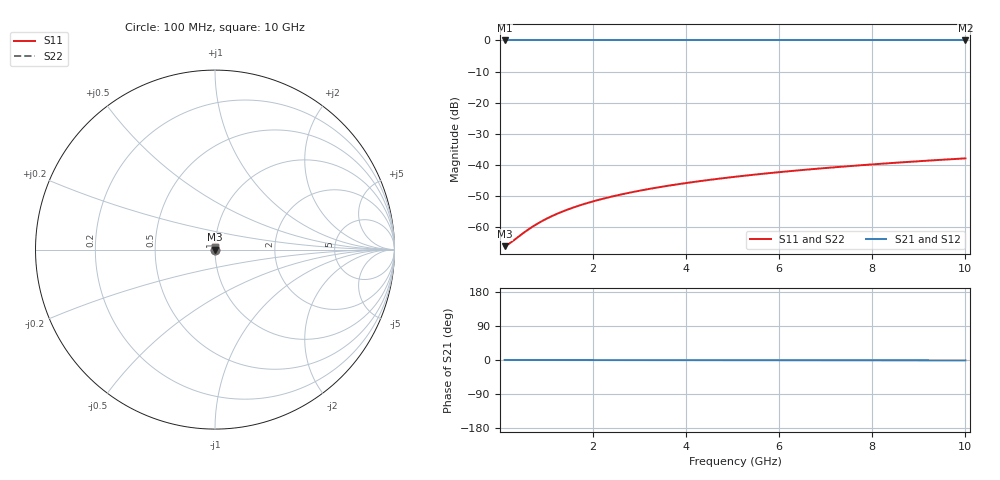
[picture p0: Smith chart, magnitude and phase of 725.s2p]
# Hz S RI R 50.00
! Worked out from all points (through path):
!   100 points, 100 MHz to 10 GHz, reference 50 ohm
!   highest |S21| = 0.00 dB at 100 MHz (marker M1); lowest = 0.0 dB at 10 GHz (marker M2)
!   lowest |S11| = -66.2 dB at 100 MHz (marker M3), VSWR 1.00, Z = 50 + j0.0126 ohm
!   |S11| at or under -10 dB: start of sweep to end of sweep
!   |S22| runs from -66.2 to -37.9 dB; largest |S21 - S12| = 1e-14
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1e8  0.000474 0.000126  0.9995 -0.000182  0.9995 -0.000182  0.000474 0.000126
2e8  0.000477 0.000253  0.9995 -0.000365  0.9995 -0.000365  0.000477 0.000253
6e8  0.000485 0.000758  0.9995 -0.00109  0.9995 -0.00109  0.000485 0.000758
7e8  0.000487 0.000884  0.9995 -0.00128  0.9995 -0.00128  0.000487 0.000884
9e8  0.00049 0.00114  0.9995 -0.00164  0.9995 -0.00164  0.00049 0.00114
1.1e9  0.000492 0.00139  0.9995 -0.00201  0.9995 -0.00201  0.000492 0.00139
1.3e9  0.000495 0.00164  0.9995 -0.00237  0.9995 -0.00237  0.000495 0.00164
1.5e9  0.000498 0.00189  0.9995 -0.00273  0.9995 -0.00273  0.000498 0.00189
1.8e9  0.000502 0.00227  0.9995 -0.00328  0.9995 -0.00328  0.000502 0.00227
2.1e9  0.000507 0.00265  0.9995 -0.00383  0.9995 -0.00383  0.000507 0.00265
2.5e9  0.000513 0.00316  0.9995 -0.00456  0.9995 -0.00456  0.000513 0.00316
2.9e9  0.000521 0.00366  0.9995 -0.00529  0.9995 -0.00529  0.000521 0.00366
3.4e9  0.00053 0.0043  0.9995 -0.0062  0.9995 -0.0062  0.00053 0.0043
3.8e9  0.000539 0.0048  0.9995 -0.00693  0.9995 -0.00693  0.000539 0.0048
4.2e9  0.000548 0.00531  0.9994 -0.00766  0.9994 -0.00766  0.000548 0.00531
4.6e9  0.000558 0.00581  0.9994 -0.00839  0.9994 -0.00839  0.000558 0.00581
5.1e9  0.000571 0.00644  0.9994 -0.0093  0.9994 -0.0093  0.000571 0.00644
5.9e9  0.000595 0.00746  0.9994 -0.0108  0.9994 -0.0108  0.000595 0.00746
6.7e9  0.000621 0.00847  0.9994 -0.0122  0.9994 -0.0122  0.000621 0.00847
7.5e9  0.00065 0.00948  0.9993 -0.0137  0.9993 -0.0137  0.00065 0.00948
8.4e9  0.000687 0.0106  0.9993 -0.0153  0.9993 -0.0153  0.000687 0.0106
1e10  0.000762 0.0127  0.9992 -0.0183  0.9992 -0.0183  0.000762 0.0127
